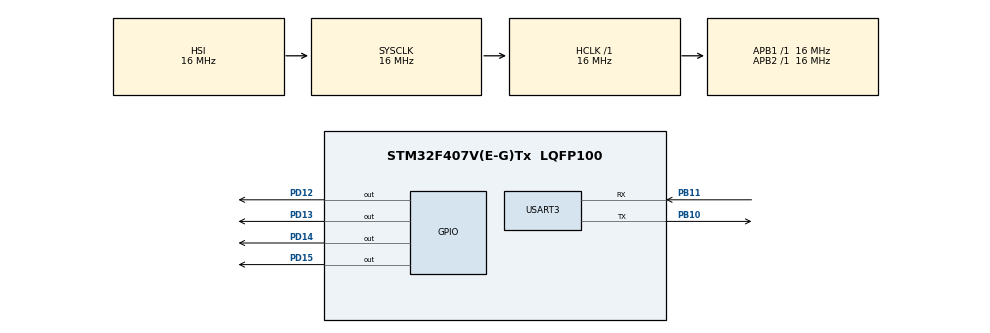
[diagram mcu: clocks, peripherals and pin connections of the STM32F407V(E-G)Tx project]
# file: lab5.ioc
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Mcu.Family=STM32F4
Mcu.Name=STM32F407V(E-G)Tx
Mcu.Package=LQFP100
NVIC.PriorityGroup=NVIC_PRIORITYGROUP_4
PB10.Mode=Asynchronous
PB10.Signal=USART3_TX
PB11.Mode=Asynchronous
PB11.Signal=USART3_RX
PD12.Signal=GPIO_Output
PD13.Signal=GPIO_Output
PD14.Signal=GPIO_Output
PD15.Signal=GPIO_Output
ProjectManager.HeapSize=0x200
ProjectManager.StackSize=0x400
ProjectManager.TargetToolchain=STM32CubeIDE
RCC.AHBFreq_Value=16000000
RCC.APB1Freq_Value=16000000
RCC.APB2Freq_Value=16000000
RCC.CortexFreq_Value=16000000
RCC.HSE_VALUE=25000000
RCC.HSI_VALUE=16000000
RCC.LSE_VALUE=32768
RCC.SYSCLKFreq_VALUE=16000000
RCC.VCOOutputFreq_Value=192000000
USART3.VirtualMode=VM_ASYNC
board=custom

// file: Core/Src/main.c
/* USER CODE BEGIN Header */
/**
  ******************************************************************************
  * @file           : main.c
  * @brief          : Main program body
  ******************************************************************************
  * @attention
  *
  * Copyright (c) 2024 STMicroelectronics.
  * All rights reserved.
  *
  * This software is licensed under terms that can be found in the LICENSE file
  * in the root directory of this software component.
  * If no LICENSE file comes with this software, it is provided AS-IS.
  *
  ******************************************************************************
  */
/* USER CODE END Header */
#include "main.h"

UART_HandleTypeDef huart3;

void SystemClock_Config(void);
static void MX_GPIO_Init(void);
static void MX_USART3_UART_Init(void);

int main(void)
{

  /* MCU Configuration--------------------------------------------------------*/

  /* Reset of all peripherals, Initializes the Flash interface and the Systick. */
  HAL_Init();

  /* Configure the system clock */
  SystemClock_Config();

  /* Initialize all configured peripherals */
  MX_GPIO_Init();
  MX_USART3_UART_Init();

  /* Infinite loop */
  /* USER CODE BEGIN WHILE */
  while (1)
  {
      uint8_t rcvBuf[1];
      HAL_StatusTypeDef result;

      result = HAL_UART_Receive(&huart3, rcvBuf, 1, 10);

      if (result == HAL_OK)
      {
          switch (rcvBuf[0])
          {
              case '1': // Увімкнути GREEN LED
                  HAL_GPIO_WritePin(GPIOD, GPIO_PIN_12, GPIO_PIN_SET);
                  HAL_UART_Transmit(&huart3, (uint8_t *)" - Green ON\r\n", 13, 100);
                  break;

              case '2': // Вимкнути GREEN LED
                  HAL_GPIO_WritePin(GPIOD, GPIO_PIN_12, GPIO_PIN_RESET);
                  HAL_UART_Transmit(&huart3, (uint8_t *)" - Green OFF\r\n", 14, 100);
                  break;

              case '3': // Увімкнути ORANGE LED
                  HAL_GPIO_WritePin(GPIOD, GPIO_PIN_13, GPIO_PIN_SET);
                  HAL_UART_Transmit(&huart3, (uint8_t *)" - Orange ON\r\n", 14, 100);
                  break;

              case '4': // Вимкнути ORANGE LED
                  HAL_GPIO_WritePin(GPIOD, GPIO_PIN_13, GPIO_PIN_RESET);
                  HAL_UART_Transmit(&huart3, (uint8_t *)" - Orange OFF\r\n", 15, 100);
                  break;

              case '5': // Увімкнути RED LED
                  HAL_GPIO_WritePin(GPIOD, GPIO_PIN_14, GPIO_PIN_SET);
                  HAL_UART_Transmit(&huart3, (uint8_t *)" - Red ON\r\n", 11, 100);
                  break;

              case '6': // Вимкнути RED LED
                  HAL_GPIO_WritePin(GPIOD, GPIO_PIN_14, GPIO_PIN_RESET);
                  HAL_UART_Transmit(&huart3, (uint8_t *)" - Red OFF\r\n", 12, 100);
                  break;

              case '7': // Увімкнути BLUE LED
                  HAL_GPIO_WritePin(GPIOD, GPIO_PIN_15, GPIO_PIN_SET);
                  HAL_UART_Transmit(&huart3, (uint8_t *)" - Blue ON\r\n", 12, 100);
                  break;

              case '8': // Вимкнути BLUE LED
                  HAL_GPIO_WritePin(GPIOD, GPIO_PIN_15, GPIO_PIN_RESET);
                  HAL_UART_Transmit(&huart3, (uint8_t *)" - Blue OFF\r\n", 13, 100);
                  break;

              case '9': // Увімкнути всі світлодіоди
                  HAL_GPIO_WritePin(GPIOD, GPIO_PIN_12, GPIO_PIN_SET);
                  HAL_GPIO_WritePin(GPIOD, GPIO_PIN_13, GPIO_PIN_SET);
                  HAL_GPIO_WritePin(GPIOD, GPIO_PIN_14, GPIO_PIN_SET);
                  HAL_GPIO_WritePin(GPIOD, GPIO_PIN_15, GPIO_PIN_SET);
                  HAL_UART_Transmit(&huart3, (uint8_t *)" - All LEDs ON\r\n", 16, 100);
                  break;

              case '0': // Вимкнути всі світлодіоди
                  HAL_GPIO_WritePin(GPIOD, GPIO_PIN_12, GPIO_PIN_RESET);
                  HAL_GPIO_WritePin(GPIOD, GPIO_PIN_13, GPIO_PIN_RESET);
                  HAL_GPIO_WritePin(GPIOD, GPIO_PIN_14, GPIO_PIN_RESET);
                  HAL_GPIO_WritePin(GPIOD, GPIO_PIN_15, GPIO_PIN_RESET);
                  HAL_UART_Transmit(&huart3, (uint8_t *)" - All LEDs OFF\r\n", 17, 100);
                  break;

              default:
                  HAL_UART_Transmit(&huart3, (uint8_t *)" - UnexpCmd\r\n", 13, 100);
                  break;
          }
      }
    /* USER CODE END WHILE */

  }
}

void SystemClock_Config(void)
{
  RCC_OscInitTypeDef RCC_OscInitStruct = {0};
  RCC_ClkInitTypeDef RCC_ClkInitStruct = {0};

  /** Configure the main internal regulator output voltage
  */
  __HAL_RCC_PWR_CLK_ENABLE();
  __HAL_PWR_VOLTAGESCALING_CONFIG(PWR_REGULATOR_VOLTAGE_SCALE1);

  /** Initializes the RCC Oscillators according to the specified parameters
  * in the RCC_OscInitTypeDef structure.
  */
  RCC_OscInitStruct.OscillatorType = RCC_OSCILLATORTYPE_HSI;
  RCC_OscInitStruct.HSIState = RCC_HSI_ON;
  RCC_OscInitStruct.HSICalibrationValue = RCC_HSICALIBRATION_DEFAULT;
  RCC_OscInitStruct.PLL.PLLState = RCC_PLL_NONE;
  if (HAL_RCC_OscConfig(&RCC_OscInitStruct) != HAL_OK)
  {
    Error_Handler();
  }

  /** Initializes the CPU, AHB and APB buses clocks
  */
  RCC_ClkInitStruct.ClockType = RCC_CLOCKTYPE_HCLK|RCC_CLOCKTYPE_SYSCLK
                              |RCC_CLOCKTYPE_PCLK1|RCC_CLOCKTYPE_PCLK2;
  RCC_ClkInitStruct.SYSCLKSource = RCC_SYSCLKSOURCE_HSI;
  RCC_ClkInitStruct.AHBCLKDivider = RCC_SYSCLK_DIV1;
  RCC_ClkInitStruct.APB1CLKDivider = RCC_HCLK_DIV1;
  RCC_ClkInitStruct.APB2CLKDivider = RCC_HCLK_DIV1;

  if (HAL_RCC_ClockConfig(&RCC_ClkInitStruct, FLASH_LATENCY_0) != HAL_OK)
  {
    Error_Handler();
  }
}

static void MX_USART3_UART_Init(void)
{

  huart3.Instance = USART3;
  huart3.Init.BaudRate = 115200;
  huart3.Init.WordLength = UART_WORDLENGTH_8B;
  huart3.Init.StopBits = UART_STOPBITS_1;
  huart3.Init.Parity = UART_PARITY_NONE;
  huart3.Init.Mode = UART_MODE_TX_RX;
  huart3.Init.HwFlowCtl = UART_HWCONTROL_NONE;
  huart3.Init.OverSampling = UART_OVERSAMPLING_16;
  if (HAL_UART_Init(&huart3) != HAL_OK)
  {
    Error_Handler();
  }

}

static void MX_GPIO_Init(void)
{
  GPIO_InitTypeDef GPIO_InitStruct = {0};

  /* GPIO Ports Clock Enable */
  __HAL_RCC_GPIOB_CLK_ENABLE();
  __HAL_RCC_GPIOD_CLK_ENABLE();

  /*Configure GPIO pin Output Level */
  HAL_GPIO_WritePin(GPIOD, GPIO_PIN_12|GPIO_PIN_13|GPIO_PIN_14|GPIO_PIN_15, GPIO_PIN_RESET);

  /*Configure GPIO pins : PD12 PD13 PD14 PD15 */
  GPIO_InitStruct.Pin = GPIO_PIN_12|GPIO_PIN_13|GPIO_PIN_14|GPIO_PIN_15;
  GPIO_InitStruct.Mode = GPIO_MODE_OUTPUT_PP;
  GPIO_InitStruct.Pull = GPIO_NOPULL;
  GPIO_InitStruct.Speed = GPIO_SPEED_FREQ_LOW;
  HAL_GPIO_Init(GPIOD, &GPIO_InitStruct);

}

void Error_Handler(void)
{
  __disable_irq();
  while (1)
  {
  }
}
